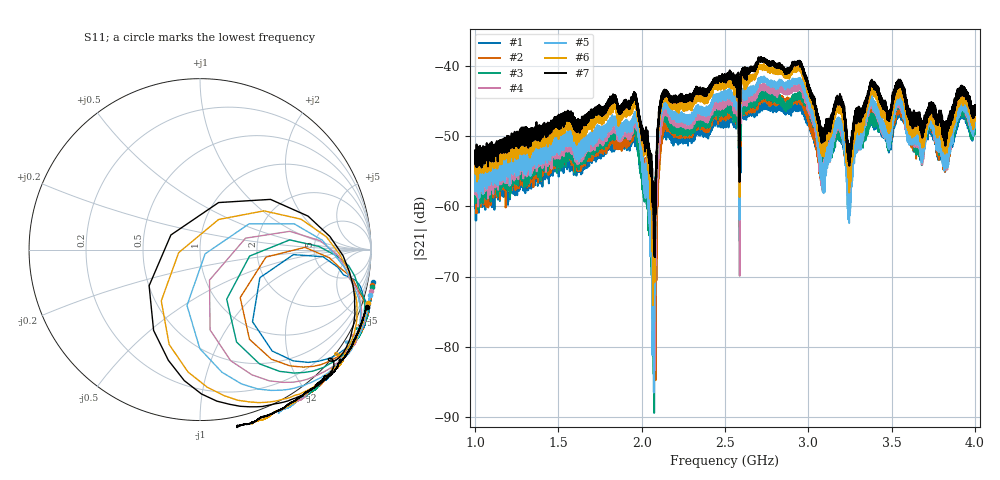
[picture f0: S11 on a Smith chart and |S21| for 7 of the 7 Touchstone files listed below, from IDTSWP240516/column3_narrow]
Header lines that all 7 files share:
!Agilent Technologies,N5230C,SG49000117,A.08.50.07
!Agilent N5230C: A.08.50.07
!Correction: S11(Full 2 Port(1,2))
!S21(Full 2 Port(1,2))
!S12(Full 2 Port(1,2))
!S22(Full 2 Port(1,2))
!S2P File: Measurements: S11, S21, S12, S22:
# Hz S  MA  R 50
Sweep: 1 GHz to 4 GHz
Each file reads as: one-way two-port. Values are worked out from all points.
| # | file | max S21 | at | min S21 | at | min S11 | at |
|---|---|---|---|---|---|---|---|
| 1 | d6.s2p | -44.97 dB | 2.735 GHz | -76.1 dB | 2.077 GHz | -8.3 dB | 2.589 GHz |
| 2 | d7.s2p | -43.96 dB | 2.728 GHz | -84.8 dB | 2.084 GHz | -9.9 dB | 2.589 GHz |
| 3 | d8.s2p | -43.42 dB | 2.717 GHz | -89.5 dB | 2.075 GHz | -12.0 dB | 2.589 GHz |
| 4 | d9.s2p | -42.50 dB | 2.731 GHz | -83.4 dB | 2.078 GHz | -17.7 dB | 2.589 GHz |
| 5 | d10.s2p | -41.46 dB | 2.734 GHz | -86.5 dB | 2.073 GHz | -28.2 dB | 2.588 GHz |
| 6 | d12.s2p | -39.71 dB | 2.734 GHz | -74.1 dB | 2.067 GHz | -21.4 dB | 2.589 GHz |
| 7 | d13.s2p | -38.72 dB | 2.702 GHz | -67.2 dB | 2.079 GHz | -14.7 dB | 2.589 GHz |
